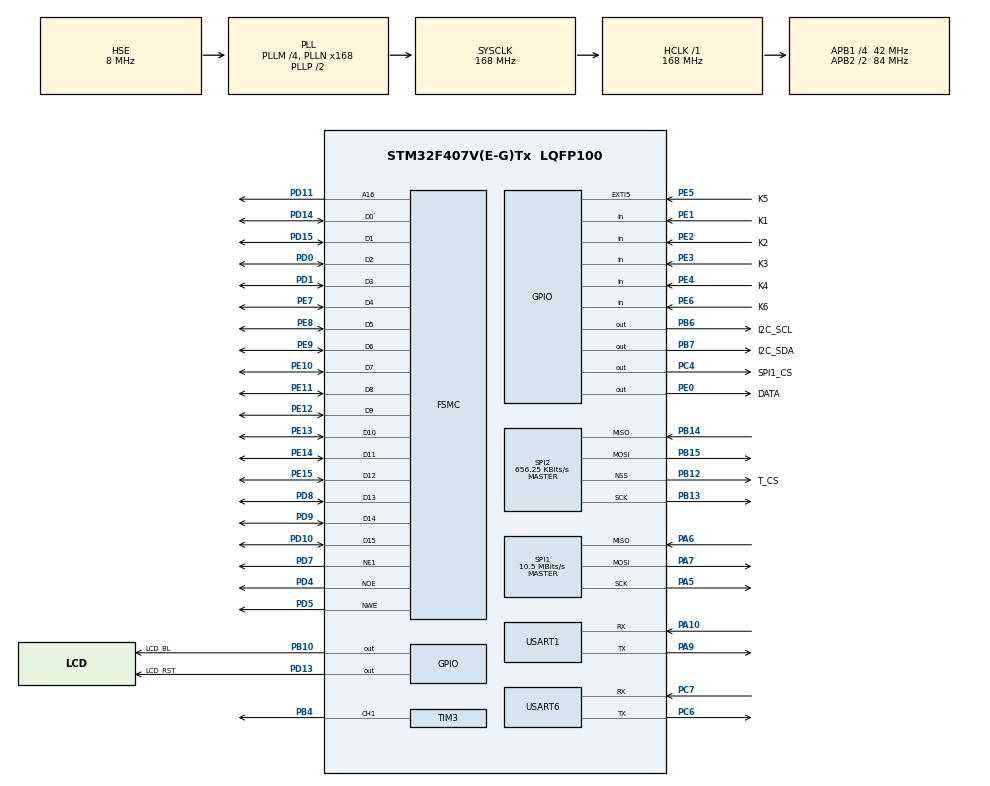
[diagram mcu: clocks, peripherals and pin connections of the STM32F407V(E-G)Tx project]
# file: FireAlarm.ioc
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FREERTOS.Tasks01=TempTask,24,512,StartTempTask,Default,NULL,Dynamic,NULL,NULL;KeyTask,26,256,StartKeyTask,Default,NULL,Dynamic,NULL,NULL;MPUTask,25,512,StartMPUTask,Default,NULL,Dynamic,NULL,NULL;GUITask,26,512,StartGUITask,Default,NULL,Dynamic,NULL,NULL;WifiTask,26,512,StartWifiTask,Default,NULL,Dynamic,NULL,NULL;DefaultTask,25,256,StartMainTask,Default,NULL,Dynamic,NULL,NULL
FREERTOS.configTOTAL_HEAP_SIZE=30000
FSMC.AddressSetupTime1=2
FSMC.BusTurnAroundDuration1=2
FSMC.DataSetupTime1=2
Mcu.Family=STM32F4
Mcu.Name=STM32F407V(E-G)Tx
Mcu.Package=LQFP100
NVIC.EXTI9_5_IRQn=true\:5\:0\:false\:false\:true\:true\:true\:true\:true
NVIC.PriorityGroup=NVIC_PRIORITYGROUP_4
NVIC.TIM3_IRQn=true\:5\:0\:false\:false\:true\:true\:true\:true\:true
NVIC.TIM7_IRQn=true\:15\:0\:false\:false\:true\:false\:false\:true\:true
NVIC.TimeBase=TIM7_IRQn
NVIC.TimeBaseIP=TIM7
NVIC.USART6_IRQn=true\:5\:0\:false\:false\:true\:true\:true\:true\:true
PA10.Mode=Asynchronous
PA10.Signal=USART1_RX
PA13.Mode=Trace_Asynchronous_SW
PA13.Signal=SYS_JTMS-SWDIO
PA14.Mode=Trace_Asynchronous_SW
PA14.Signal=SYS_JTCK-SWCLK
PA5.Mode=Full_Duplex_Master
PA5.Signal=SPI1_SCK
PA6.Mode=Full_Duplex_Master
PA6.Signal=SPI1_MISO
PA7.Mode=Full_Duplex_Master
PA7.Signal=SPI1_MOSI
PA9.Mode=Asynchronous
PA9.Signal=USART1_TX
PB10.GPIO_Label=LCD_BL
PB10.Signal=GPIO_Output
PB12.GPIO_Label=T_CS
PB12.Mode=NSS_Signal_Hard_Output
PB12.Signal=SPI2_NSS
PB13.Mode=Full_Duplex_Master
PB13.Signal=SPI2_SCK
PB14.Mode=Full_Duplex_Master
PB14.Signal=SPI2_MISO
PB15.Mode=Full_Duplex_Master
PB15.Signal=SPI2_MOSI
PB3.Mode=Trace_Asynchronous_SW
PB3.Signal=SYS_JTDO-SWO
PB4.Signal=S_TIM3_CH1
PB6.GPIO_Label=I2C_SCL
PB6.GPIO_ModeDefaultOutputPP=GPIO_MODE_OUTPUT_OD
PB6.GPIO_PuPd=GPIO_NOPULL
PB6.GPIO_Speed=GPIO_SPEED_FREQ_LOW
PB6.Signal=GPIO_Output
PB7.GPIO_Label=I2C_SDA
PB7.GPIO_ModeDefaultOutputPP=GPIO_MODE_OUTPUT_OD
PB7.GPIO_PuPd=GPIO_NOPULL
PB7.GPIO_Speed=GPIO_SPEED_FREQ_LOW
PB7.Signal=GPIO_Output
PC4.GPIO_Label=SPI1_CS
PC4.Signal=GPIO_Output
PC6.Mode=Asynchronous
PC6.Signal=USART6_TX
PC7.Mode=Asynchronous
PC7.Signal=USART6_RX
PD0.Mode=16b-d1
PD0.Signal=FSMC_D2
PD1.Mode=16b-d1
PD1.Signal=FSMC_D3
PD10.Mode=16b-d1
PD10.Signal=FSMC_D15
PD11.Mode=A16_1
PD11.Signal=FSMC_A16
PD13.GPIO_Label=LCD_RST
PD13.Signal=GPIO_Output
PD14.Mode=16b-d1
PD14.Signal=FSMC_D0
PD15.Mode=16b-d1
PD15.Signal=FSMC_D1
PD4.Mode=Lcd1
PD4.Signal=FSMC_NOE
PD5.Mode=Lcd1
PD5.Signal=FSMC_NWE
PD7.Mode=NorPsramChipSelect1_1
PD7.Signal=FSMC_NE1
PD8.Mode=16b-d1
PD8.Signal=FSMC_D13
PD9.Mode=16b-d1
PD9.Signal=FSMC_D14
PE0.GPIO_Label=DATA
PE0.GPIO_PuPd=GPIO_NOPULL
PE0.Signal=GPIO_Output
PE1.GPIO_Label=K1
PE1.GPIO_PuPd=GPIO_PULLUP
PE1.Signal=GPIO_Input
PE10.Mode=16b-d1
PE10.Signal=FSMC_D7
PE11.Mode=16b-d1
PE11.Signal=FSMC_D8
PE12.Mode=16b-d1
PE12.Signal=FSMC_D9
PE13.Mode=16b-d1
PE13.Signal=FSMC_D10
PE14.Mode=16b-d1
PE14.Signal=FSMC_D11
PE15.Mode=16b-d1
PE15.Signal=FSMC_D12
PE2.GPIO_Label=K2
PE2.GPIO_PuPd=GPIO_PULLUP
PE2.Signal=GPIO_Input
PE3.GPIO_Label=K3
PE3.GPIO_PuPd=GPIO_PULLUP
PE3.Signal=GPIO_Input
PE4.GPIO_Label=K4
PE4.GPIO_PuPd=GPIO_PULLUP
PE4.Signal=GPIO_Input
PE5.GPIO_Label=K5
PE5.GPIO_ModeDefaultEXTI=GPIO_MODE_IT_RISING_FALLING
PE5.GPIO_PuPd=GPIO_PULLDOWN
PE5.Signal=GPXTI5
PE6.GPIO_Label=K6
PE6.GPIO_PuPd=GPIO_PULLDOWN
PE6.Signal=GPIO_Input
PE7.Mode=16b-d1
PE7.Signal=FSMC_D4
PE8.Mode=16b-d1
PE8.Signal=FSMC_D5
PE9.Mode=16b-d1
PE9.Signal=FSMC_D6
PH0-OSC_IN.Mode=HSE-External-Oscillator
PH0-OSC_IN.Signal=RCC_OSC_IN
PH1-OSC_OUT.Mode=HSE-External-Oscillator
PH1-OSC_OUT.Signal=RCC_OSC_OUT
ProjectManager.HeapSize=0x1000
ProjectManager.StackSize=0x2000
ProjectManager.TargetToolchain=Makefile
RCC.48MHZClocksFreq_Value=84000000
RCC.AHBFreq_Value=168000000
RCC.APB1CLKDivider=RCC_HCLK_DIV4
RCC.APB1Freq_Value=42000000
RCC.APB1TimFreq_Value=84000000
RCC.APB2CLKDivider=RCC_HCLK_DIV2
RCC.APB2Freq_Value=84000000
RCC.APB2TimFreq_Value=168000000
RCC.CortexFreq_Value=168000000
RCC.HCLKFreq_Value=168000000
RCC.HSE_VALUE=8000000
RCC.HSI_VALUE=16000000
RCC.LSE_VALUE=32768
RCC.PLLM=4
RCC.PLLN=168
RCC.PLLSourceVirtual=RCC_PLLSOURCE_HSE
RCC.SYSCLKFreq_VALUE=168000000
RCC.SYSCLKSource=RCC_SYSCLKSOURCE_PLLCLK
RCC.VCOOutputFreq_Value=336000000
SH.S_TIM3_CH1.0=TIM3_CH1,PWM Generation1 CH1
SPI1.BaudRatePrescaler=SPI_BAUDRATEPRESCALER_8
SPI1.CalculateBaudRate=10.5 MBits/s
SPI1.Direction=SPI_DIRECTION_2LINES
SPI1.Mode=SPI_MODE_MASTER
SPI1.VirtualType=VM_MASTER
SPI2.BaudRatePrescaler=SPI_BAUDRATEPRESCALER_64
SPI2.CRCCalculation=SPI_CRCCALCULATION_ENABLE
SPI2.CalculateBaudRate=656.25 KBits/s
SPI2.Direction=SPI_DIRECTION_2LINES
SPI2.Mode=SPI_MODE_MASTER
SPI2.VirtualNSS=VM_NSSHARD
SPI2.VirtualType=VM_MASTER
TIM13.Period=0xFFFF
TIM13.Prescaler=168 - 1
TIM3.Channel-PWM\ Generation1\ CH1=TIM_CHANNEL_1
TIM3.Period=1000 - 1
TIM3.Prescaler=84 - 1
TIM3.Pulse-PWM\ Generation1\ CH1=500
TIM3.TIM_MasterOutputTrigger=TIM_TRGO_RESET
USART1.VirtualMode=VM_ASYNC
USART6.VirtualMode=VM_ASYNC
VP_CRC_VS_CRC.Mode=CRC_Activate
VP_FREERTOS_VS_CMSIS_V2.Mode=CMSIS_V2
VP_SYS_VS_tim7.Mode=TIM7
VP_TIM13_VS_ClockSourceINT.Mode=Enable_Timer
board=custom

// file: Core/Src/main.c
/* USER CODE BEGIN Header */
/**
  ******************************************************************************
  * @file           : main.c
  * @brief          : Main program body
  ******************************************************************************
  * @attention
  *
  * Copyright (c) 2024 STMicroelectronics.
  * All rights reserved.
  *
  * This software is licensed under terms that can be found in the LICENSE file
  * in the root directory of this software component.
  * If no LICENSE file comes with this software, it is provided AS-IS.
  *
  ******************************************************************************
  */
/* USER CODE END Header */
#include "main.h"
#include "cmsis_os.h"
#include "crc.h"
#include "spi.h"
#include "tim.h"
#include "usart.h"
#include "gpio.h"
#include "fsmc.h"

void SystemClock_Config(void);
void MX_FREERTOS_Init(void);

int main(void)

{

  /* MCU Configuration--------------------------------------------------------*/

  /* Reset of all peripherals, Initializes the Flash interface and the Systick. */
  HAL_Init();

  /* Configure the system clock */
  SystemClock_Config();

  /* Initialize all configured peripherals */
  MX_GPIO_Init();
  MX_CRC_Init();
  MX_FSMC_Init();
  MX_SPI2_Init();
  MX_TIM3_Init();
  MX_TIM13_Init();
  MX_USART6_UART_Init();
  MX_USART1_UART_Init();
  MX_SPI1_Init();

  /* Init scheduler */
  osKernelInitialize();

  /* Call init function for freertos objects (in freertos.c) */
  MX_FREERTOS_Init();

  /* Start scheduler */
  osKernelStart();

  /* We should never get here as control is now taken by the scheduler */
  /* Infinite loop */
  while (1)
  {

  }
}

void SystemClock_Config(void)
{
  RCC_OscInitTypeDef RCC_OscInitStruct = {0};
  RCC_ClkInitTypeDef RCC_ClkInitStruct = {0};

  /** Configure the main internal regulator output voltage
  */
  __HAL_RCC_PWR_CLK_ENABLE();
  __HAL_PWR_VOLTAGESCALING_CONFIG(PWR_REGULATOR_VOLTAGE_SCALE1);

  /** Initializes the RCC Oscillators according to the specified parameters
  * in the RCC_OscInitTypeDef structure.
  */
  RCC_OscInitStruct.OscillatorType = RCC_OSCILLATORTYPE_HSE;
  RCC_OscInitStruct.HSEState = RCC_HSE_ON;
  RCC_OscInitStruct.PLL.PLLState = RCC_PLL_ON;
  RCC_OscInitStruct.PLL.PLLSource = RCC_PLLSOURCE_HSE;
  RCC_OscInitStruct.PLL.PLLM = 4;
  RCC_OscInitStruct.PLL.PLLN = 168;
  RCC_OscInitStruct.PLL.PLLP = RCC_PLLP_DIV2;
  RCC_OscInitStruct.PLL.PLLQ = 4;
  if (HAL_RCC_OscConfig(&RCC_OscInitStruct) != HAL_OK)
  {
    Error_Handler();
  }

  /** Initializes the CPU, AHB and APB buses clocks
  */
  RCC_ClkInitStruct.ClockType = RCC_CLOCKTYPE_HCLK|RCC_CLOCKTYPE_SYSCLK
                              |RCC_CLOCKTYPE_PCLK1|RCC_CLOCKTYPE_PCLK2;
  RCC_ClkInitStruct.SYSCLKSource = RCC_SYSCLKSOURCE_PLLCLK;
  RCC_ClkInitStruct.AHBCLKDivider = RCC_SYSCLK_DIV1;
  RCC_ClkInitStruct.APB1CLKDivider = RCC_HCLK_DIV4;
  RCC_ClkInitStruct.APB2CLKDivider = RCC_HCLK_DIV2;

  if (HAL_RCC_ClockConfig(&RCC_ClkInitStruct, FLASH_LATENCY_5) != HAL_OK)
  {
    Error_Handler();
  }
}

void HAL_TIM_PeriodElapsedCallback(TIM_HandleTypeDef *htim)
{
  if (htim->Instance == TIM7) {
    HAL_IncTick();
  }
  /* USER CODE BEGIN Callback 1 */
  // if (htim->Instance == TIM7 && beep_time > 0)
	// {
	// 	--beep_time;
	//  if(0 == beep_time)
	// 	Beep(0,0);
  //  }
  /* USER CODE END Callback 1 */
}

void Error_Handler(void)
{
  __disable_irq();
  while (1)
  {
  }
}

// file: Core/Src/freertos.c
/* USER CODE BEGIN Header */
/**
  ******************************************************************************
  * File Name          : freertos.c
  * Description        : Code for freertos applications
  ******************************************************************************
  * @attention
  *
  * Copyright (c) 2024 STMicroelectronics.
  * All rights reserved.
  *
  * This software is licensed under terms that can be found in the LICENSE file
  * in the root directory of this software component.
  * If no LICENSE file comes with this software, it is provided AS-IS.
  *
  ******************************************************************************
  */
/* USER CODE END Header */

#include "FreeRTOS.h"
#include "task.h"
#include "main.h"
#include "cmsis_os.h"

/* USER CODE BEGIN Includes */
#include "stdlib.h"
#include "printf.h"
#include "string.h"
#include "../../API/Menu.h"
#include "../inc/gpio.h"
#include "../inc/tim.h"
#include "../inc/usart.h"
#include "../inc/ESP01.h"

#include "w25qxx.h"
#include "DS18B20.h"
#include "MPU6050.h"
#include "GUI.h"
#include "touch.h"
#include <cmsis_os2.h>

/* USER CODE END Includes */

/* USER CODE BEGIN PD */

#define TH            90.0f
#define SEV              9
#define ALARM_MAX       60
#define UPLOAD_MAX 10000.0f

/* USER CODE END PD */

/* USER CODE BEGIN Variables */

float vPitch[pPLOT_NUM]  = {0.0f};
float  vTemp[tPLOT_NUM]  = {0.0f};
float  vRoll[rPLOT_NUM]  = {0.0f};
float   vYaw[yPLOT_NUM]  = {0.0f};

PARA_list   para  = {
       5,         /*    Sensitivity level (0~9)         */
      30,         /*    Alarm duration(s) (0~60)        */
  1000.0f,         /*    Upload interval (100~10000ms)   */
    30.0f         /*    temp thresh (0~90) degree       */
};

PARA_list set;

Temperature gtemp = {
    0.0f,         /*  new temperature    */
    0.0f,         /*  old temperature    */
       0,         /*  temperature update */
       0,         /*  temperature warn   */
       0,         /*  temperature cnt    */
    30.0f         /*  temperature thresh */
};

MPUpacket mpu = {
       1,         /*    ax    */
       0,         /*    ay    */
      -1,         /*    az    */
       1,         /*    gx    */
       0,         /*    gy    */
      -1,         /*    gz    */
    0.0f,         /*   fAX    */
    0.0f,         /*   fAY    */
    0.0f,         /*   fAZ    */
       0,         /*    ok    */
       0,         /*  warn    */
       1,         /*  update  */
       0          /*  counter */
};

Page_t Book = {
        1,        /*    cur  page     */
      127,        /*    last page     */
        0,        /*    skip button   */
TEMP_FIRST,       /*    Priority      */
TEMP_CURVE,       /*    prev-Priority */
        1,        /*    turn page     */
        0,        /*  PARA SET-order  */
        0,        /*  fetch thresh    */
        0         /*  to kill beep    */
};

WifiPacket SensorPack = {
        1,        /*    Deliever to TCP     */
   100.0f,        /*    Deliever interval   */
      "",         /*    Sensor Data Buffer  */
};

uint32_t current_tick = 0;
uint32_t beeptick = 0;
uint32_t warntick = 0;
uint16_t key = 0;
uint16_t num[4];

/* USER CODE END Variables */
/* Definitions for TempTask */
osThreadId_t TempTaskHandle;
const osThreadAttr_t TempTask_attributes = {
  .name = "TempTask",
  .stack_size = 512 * 4,
  .priority = (osPriority_t) osPriorityAboveNormal,
};
/* Definitions for KeyTask */
osThreadId_t KeyTaskHandle;
const osThreadAttr_t KeyTask_attributes = {
  .name = "KeyTask",
  .stack_size = 256 * 4,
  .priority = (osPriority_t) osPriorityNormal2,
};
/* Definitions for MPUTask */
osThreadId_t MPUTaskHandle;
const osThreadAttr_t MPUTask_attributes = {
  .name = "MPUTask",
  .stack_size = 512 * 4,
  .priority = (osPriority_t) osPriorityNormal1,
};
/* Definitions for GUITask */
osThreadId_t GUITaskHandle;
const osThreadAttr_t GUITask_attributes = {
  .name = "GUITask",
  .stack_size = 512 * 4,
  .priority = (osPriority_t) osPriorityNormal2,
};
/* Definitions for WifiTask */
osThreadId_t WifiTaskHandle;
const osThreadAttr_t WifiTask_attributes = {
  .name = "WifiTask",
  .stack_size = 512 * 4,
  .priority = (osPriority_t) osPriorityNormal2,
};
/* Definitions for DefaultTask */
osThreadId_t DefaultTaskHandle;
const osThreadAttr_t DefaultTask_attributes = {
  .name = "DefaultTask",
  .stack_size = 256 * 4,
  .priority = (osPriority_t) osPriorityNormal1,
};

/* USER CODE BEGIN FunctionPrototypes */
static void GUI_Start();
void Beep(uint8_t tune, uint16_t time);
void Beep_mpu(uint8_t tune, uint16_t time);
void BeepDone(void);
/* USER CODE END FunctionPrototypes */

void StartTempTask(void *argument);
void StartKeyTask(void *argument);
void StartMPUTask(void *argument);
void StartGUITask(void *argument);
void StartWifiTask(void *argument);
void StartMainTask(void *argument);

void MX_FREERTOS_Init(void); /* (MISRA C 2004 rule 8.1) */

void MX_FREERTOS_Init(void) {

  /* Create the thread(s) */
  /* creation of TempTask */
  TempTaskHandle = osThreadNew(StartTempTask, NULL, &TempTask_attributes);

  /* creation of KeyTask */
  KeyTaskHandle = osThreadNew(StartKeyTask, NULL, &KeyTask_attributes);

  /* creation of MPUTask */
  MPUTaskHandle = osThreadNew(StartMPUTask, NULL, &MPUTask_attributes);

  /* creation of GUITask */
  GUITaskHandle = osThreadNew(StartGUITask, NULL, &GUITask_attributes);

  /* creation of WifiTask */
  WifiTaskHandle = osThreadNew(StartWifiTask, NULL, &WifiTask_attributes);

  /* creation of DefaultTask */
  DefaultTaskHandle = osThreadNew(StartMainTask, NULL, &DefaultTask_attributes);

}

void StartTempTask(void *argument)
{
  /* USER CODE BEGIN StartTempTask */
  /* Infinite loop */

  ds18b20_init();

  for(;;)
  {
      if ( Book.Priority == TEMP_FIRST || Book.Priority == WIFI_ESP || Book.Priority == PARA_SET)
      {

          // osThreadFlagsWait(0x0001, osFlagsWaitAny, 5);

          osDelay(20);
          gtemp.new  = ds18b20_read();

          if ( gtemp.new < TH )
          {
              if ( gtemp.new >= (float)gtemp.thresh )
              {
                  gtemp.warn = 1;
              }
          }
      }
      else if ( Book.Priority == TEMP_CURVE )
      {
          osThreadFlagsWait(0x0001, osFlagsWaitAny, 2);

          osDelay(100);
          gtemp.new  = ds18b20_read();

          if ( gtemp.new < TH )
          {
              if ( gtemp.cnt < tPLOT_NUM )
                vTemp[gtemp.cnt++] = gtemp.new;
              else
              {
                  memcpy((void *)vTemp, (void *)(vTemp +1), sizeof(vTemp[0]) * (tPLOT_NUM - 1));
                  vTemp[tPLOT_NUM -1] = gtemp.new;
              }

              if ( gtemp.new >= (float) gtemp.thresh )
              {
                  gtemp.warn = 1;
              }
          }
      }
      if ( ( gtemp.warn || mpu.warn ) && para.alarm > 0 )
      {
          if ( 0 == warntick )
              warntick = osKernelGetTickCount();
          else if ( para.alarm == 0 || osKernelGetTickCount() >= warntick + para.alarm * 1000 || !Book.set)
          {
              gtemp.warn = 0;
              mpu.warn = 0;
              warntick = 0;
          }
          else
          {
              uint32_t tic = warntick + 30000 - osKernelGetTickCount();
              num[0] =  (tic / 10000) % 10;
              num[1] =  (tic / 1000) % 10;
              num[2] =  (tic / 100) % 10;
              num[3] =  (tic / 10) % 10;

              if ((num[2] == 1 || num[2] == 2 || num[2] == 7) && ( gtemp.warn && !mpu.warn && !Book.killbeep))
              {
                  Beep(num[2],100);
              }
              else if (( num[2] == 7 || num[2] == 2 || num[2] == 5 ) && ( !gtemp.warn && mpu.warn && !Book.killbeep ))
              {
                  Beep_mpu(num[2],100);
              }
          }
      }
      else
        num[0] = num[1] = num[2] = num[3] = ' ';

      BeepDone();
      osDelay(1);
  }
  /* USER CODE END StartTempTask */
}

void StartKeyTask(void *argument)
{
  /* USER CODE BEGIN StartKeyTask */
  /* Infinite loop */
  for(;;)
  {
      if ( (gtemp.warn || mpu.warn ) && para.alarm > 0 )
      {
        key = ScanKey(1);
        current_tick = 0;
      }
		  else
      {
        key = ScanKey(0);
        Book.killbeep = 0;
      }
      if ( key > 0 )
      {
          if ( key == KSUM )
          {
                current_tick = osKernelGetTickCount();

                while ( key == KSUM )
                {
                    if ( osKernelGetTickCount() >= current_tick + 3000 )
                    {
                        Book.killbeep = 1;
                        key = K_IDIE;
                        break;
                    }
                    key = ScanKey(1);
                }
          }
          switch ( key )
          {
              case K1_Pin:

                Book.cur = MENU[Book.cur].up;

                Book_Priorswitch (Book.cur);
                osDelay(300);

              break;

              case K4_Pin:

                Book.cur = MENU[Book.cur].down;

                Book_Priorswitch (Book.cur);
                osDelay(300);

              break;

              case K2_Pin:

                if ( Book.Priority == WIFI_ESP )
                {
                    SensorPack.button = 1;
                    // transmitting SensorDataPack;
                }
                else if ( Book.Priority == PARA_SET && (gtemp.warn != 1 && mpu.warn != 1) )
                {

                    osDelay(300);

                    switch ( Book.gpara )
                    {
                      case 0:

                          if ( para.maxtemp < TH )
                          {
                              para.maxtemp += 0.1f;
                          }
                          else
                          {
                              para.maxtemp = (float)TH;
                          }

                      break;

                      case 1:

                          if ( para.sensitivity < SEV )
                          {
                              para.sensitivity += 1;
                          }
                          else
                          {
                              para.sensitivity = SEV;
                          }

                      break;

                      case 2:

                          if ( para.alarm < ALARM_MAX )
                          {
                              para.alarm   += 1;
                          }
                          else
                          {
                              para.alarm = ALARM_MAX;
                          }

                      break;

                      case 3:

                          if ( para.upload < UPLOAD_MAX )
                          {
                              para.upload  += 100;
                          }
                          else
                          {
                              para.upload = UPLOAD_MAX;
                          }

                      break;

                      default:
                      break;
                    }

                }
                else
                {
                    Book.cur = MENU[Book.cur].left;

                    Book_Priorswitch (Book.cur);
                    osDelay(300);
                }

              break;

              case K3_Pin:

                if ( Book.Priority == WIFI_ESP )
                {
                    SensorPack.button = 0;
                    // close
                }
                else if ( Book.Priority == PARA_SET && (gtemp.warn != 1 && mpu.warn != 1) )
                {

                    osDelay(300);

                    switch ( Book.gpara )
                    {
                      case 0:

                          if ( para.maxtemp > 0.0f )
                          {
                              para.maxtemp -= 0.1f;
                          }
                          else
                          {
                              para.maxtemp = 0.0f;
                          }

                      break;

                      case 1:

                          if ( para.sensitivity > 0 )
                          {
                              para.sensitivity -= 1;
                          }
                          else
                          {
                              para.sensitivity = 0;
                          }

                      break;

                      case 2:

                          if ( para.alarm > 0 )
                          {
                              para.alarm -= 1;
                          }
                          else
                          {
                              para.alarm = 0;
                          }

                      break;

                      case 3:

                          if ( para.upload > 100 )
                          {
                              para.upload -= 100;
                          }
                          else
                          {
                              para.upload = 100;
                          }

                      break;

                      default:
                      break;
                    }

                }
                else
                {

                    Book.cur = MENU[Book.cur].right;

                    Book_Priorswitch (Book.cur);
                    osDelay(300);

                }

              break;

              case K5_Pin:

                if ( Book.Priority != WIFI_ESP && Book.Priority != PARA_SET )
                {
                    Book.cur = MENU[Book.cur].enter;

                    Book_Priorswitch (Book.cur);
                    osDelay(300);
                }

                else if ( Book.Priority == PARA_SET )
                {
                    Book.gpara += 1;
                    Book.gpara %= 4;
                    osDelay(500);
                }

                else if ( Book.Priority == WIFI_ESP )
                {
                    if ( Book.cur != 11)   { InitEsp01(&huart6);}
                    else                   { g_esp01.Sendbytes = 0; g_esp01.Recvbytes = 0; }

                }

              break;

              case K6_Pin:

                if ( Book.Priority != WIFI_ESP )
                  Book.cur = MENU[Book.cur].back;
                else
                  Book.cur = MENU[Book.cur].right;

                Book_Priorswitch (Book.cur);
                osDelay(300);

              break;

              case K_IDIE:
                printf("success brake beep!\n");
                osDelay(100);
              break;
              default:
              break;
        }

        if ( Book.Priority == PARA_SET && (key == K2_Pin || key == K3_Pin) )
        {
            if ( memcpy(&set, &para, sizeof(para) ) )
            {
                printf("Save %.1f℃, %d, %d秒, %.1f毫秒\n", para.maxtemp, para.sensitivity,
                        para.alarm, para.upload);
                W25QXX_Write( (uint8_t *)&para , 0, sizeof(para) );
                gtemp.thresh = (float)para.maxtemp;
                SensorPack.interval = para.upload;
            }
        }

      }

    osDelay(1);
  }
  /* USER CODE END StartKeyTask */
}

void StartMPUTask(void *argument)
{
  /* USER CODE BEGIN StartMPUTask */
  /* Infinite loop */
  uint32_t tick = 0;
  mpu.ok = MPU_init();

  uint8_t cnt = 0;
  while ( cnt++ < 3 && !mpu.ok)
  {
    osDelay(500);
    mpu.ok = MPU_init();
  }
  InitEsp01(&huart6);

  W25QXX_Init();

  W25QXX_Read(&set, 0, sizeof(set));
  if (( set.maxtemp  >= 0.0f && set.maxtemp <= TH       ) &&
      ( set.sensitivity >= 0 && set.sensitivity <= SEV  ) &&
      ( set.alarm       >= 0 && set.alarm   <= ALARM_MAX) &&
      ( set.upload   >= 100.0f  && set.upload <= UPLOAD_MAX)  )
  {
        memcpy(&para, &set, sizeof(set));
        printf("Load %.1f℃, %d, %d秒, %.1f毫秒\n", para.maxtemp, para.sensitivity,
                            para.alarm, para.upload);
        gtemp.thresh = (float)para.maxtemp;
        SensorPack.interval = para.upload;
        Book.set = 1;
  }
  /* Infinite loop */
  for(;;)
  {
      if ( mpu.ok && ( Book.Priority == MPU_FIRST || Book.Priority == WIFI_ESP || Book.Priority == PARA_SET || Book.Priority == TEMP_FIRST ) )
      {
          // osThreadFlagsWait(0x0002, osFlagsWaitAny, 5);

          MPU_getdata();
              mpu.ax = ax;
              mpu.ay = ay;
              mpu.az = az;
              mpu.gx = gx;
              mpu.gy = gy;
              mpu.gz = gz;
              mpu.fAX = fAX;
              mpu.fAY = fAY;
              mpu.fAZ = fAZ;
              mpu.update = 1;

          // SWV output
          // printf("MPU Data:%4.1f %4.1f %4.1f, %5d %5d %5d, %5d %5d %5d\n", fAX, fAY, fAZ, ax, ay, az, gx, gy, gz);
      }

      else if ( mpu.ok && ( Book.Priority == MPU_PITCH || Book.Priority == MPU_ROLL || Book.Priority == MPU_YAW ) )
      {

          osThreadFlagsWait(0x0002, osFlagsWaitAny, 2);

          MPU_getdata();
              mpu.ax = ax;
              mpu.ay = ay;
              mpu.az = az;
              mpu.gx = gx;
              mpu.gy = gy;
              mpu.gz = gz;
              mpu.fAX = fAX;
              mpu.fAY = fAY;
              mpu.fAZ = fAZ;

          if ( Book.Prev_Priority != Book.Priority ) { mpu.cnt = 0; }

          switch ( Book.Priority )
          {
              case MPU_PITCH:

                  if ( mpu.cnt < tPLOT_NUM )
                    vPitch[mpu.cnt++] = fAX;

                  else
                  {
                    memcpy( (void *) vPitch , (void *) ( vPitch + 1 ) , sizeof( vPitch[0] ) * ( pPLOT_NUM - 1 ) );
                    vPitch[pPLOT_NUM -1] = fAX;
                  }

                  Book.Prev_Priority = MPU_PITCH;

              break;
              case  MPU_ROLL:

                  if ( mpu.cnt < rPLOT_NUM )
                    vRoll[mpu.cnt++] = fAY;
                  else
                  {
                    memcpy( (void *)vRoll , (void *) ( vRoll + 1 ) , sizeof( vRoll[0] ) * ( rPLOT_NUM - 1 ) );
                    vRoll[rPLOT_NUM -1] = fAY;
                  }

                  Book.Prev_Priority = MPU_ROLL;

              break;
              case   MPU_YAW:

                  if ( mpu.cnt < yPLOT_NUM )
                    vYaw[mpu.cnt++] = fAZ;
                  else
                  {
                    memcpy( (void *)vYaw , (void *) ( vYaw + 1 ), sizeof( vYaw[0] ) * ( yPLOT_NUM - 1 ) );
                    vYaw[yPLOT_NUM -1] = fAZ;
                  }

                  Book.Prev_Priority = MPU_YAW;

              break;
          }
          osDelay(50);
      }

      if ( gx * gx + gy * gy + gz * gz > 5000 * ( 10 - para.sensitivity ) && para.alarm > 0 )
      {
          mpu.warn = 1;
      }

      osDelay(1);
  }
  /* USER CODE END StartMPUTask */
}

void StartGUITask(void *argument)
{
  /* USER CODE BEGIN StartGUITask */
  /* Infinite loop */

  HAL_TIM_Base_Start(&htim3);
  GUI_Init();
  GUI_Start();

  // printf("Hello STM32F407!\n");
  static uint16_t Subprioity = TEMP_FIRST;
  // osThreadFlagsSet(TempTaskHandle , 0x0001);
  // osDelay(2U);

  for(;;)
  {
      if ( Book.last != Book.cur )
      {

          Book.update = 1;
          gtemp.update = 0;
          mpu.update   = 1;
          Book_Pageturn ( Book.cur, gtemp, mpu );
          Book.last = Book.cur;

      }

      else
      {

          Book.update = 0;
          Book.button = 0;

          switch ( Book.Priority )
          {
              case TEMP_FIRST:

                  if ( gtemp.new != gtemp.old )
                  {
                    gtemp.update = 1;
                    Book_Pageturn ( Book.cur, gtemp, mpu );
                    gtemp.old = gtemp.new;
                  }

                  else if ( gtemp.new == gtemp.old )
                  {
                    gtemp.update = 0;
                    // osThreadFlagsSet(TempTaskHandle , 0x0001);

                    osDelay(2U);
                  }

              break;

              case  MPU_FIRST:

                  if ( mpu.update )
                  {
                    Book_Pageturn ( Book.cur, gtemp, mpu );
                    mpu.update = 0;
                  }
                  // if ( !mpu.update )
                  // {
                  //   // osThreadFlagsSet ( MPUTaskHandle , 0x0002 );

                  //   osDelay(2U);
                  // }

              break;

              case  TEMP_CURVE:

                  osThreadFlagsSet ( TempTaskHandle , 0x0001 );
                  osDelay(2U);
                  Book_Pageturn ( Book.cur, gtemp, mpu );

              break;

              case   MPU_YAW:

                  osThreadFlagsSet ( MPUTaskHandle , 0x0002 );
                  osDelay(2U);
                  Book_Pageturn ( Book.cur, gtemp, mpu );

              break;

              case   MPU_ROLL:

                  osThreadFlagsSet ( MPUTaskHandle , 0x0002 );
                  osDelay(2U);
                  Book_Pageturn ( Book.cur, gtemp, mpu );

              break;

              case   MPU_PITCH:

                  osThreadFlagsSet ( MPUTaskHandle , 0x0002 );
                  osDelay(2U);
                  Book_Pageturn ( Book.cur, gtemp, mpu );

              break;

              case  WIFI_ESP:

                  switch (Subprioity)
                  {
                    case TEMP_FIRST:

                        if ( gtemp.new != gtemp.old )
                        {
                          gtemp.update = 1;
                          gtemp.old = gtemp.new;
                        }

                        else if ( gtemp.new == gtemp.old )
                        {
                          gtemp.update = 0;
                          // osThreadFlagsSet(TempTaskHandle , 0x0001);

                          osDelay(2U);
                        }

                        Subprioity = MPU_FIRST;
                        osDelay(10);
                    break;
                    case MPU_FIRST:

                        if ( mpu.update )
                        {
                          Book_Pageturn ( Book.cur, gtemp, mpu );
                          mpu.update = 0;
                        }
                        // if ( !mpu.update )
                        // {
                        //   osThreadFlagsSet ( MPUTaskHandle , 0x0002 );

                        //   osDelay(2U);
                        // }

                        Subprioity = TEMP_FIRST;
                        osDelay(10);

                    default:
                    break;
                  }

              break;

              case   PARA_SET:

                  Book_Pageturn ( Book.cur, gtemp, mpu );
                  osDelay(100);

              break;
              default:
              break;
          }
      }

      if ( Book.cur == 0 ) { Book.cur = 1; }

      BeepDone();
      osDelay(100);
  }
  /* USER CODE END StartGUITask */
}

void StartWifiTask(void *argument)
{
  /* USER CODE BEGIN StartWifiTask */
  /* Infinite loop */

  for(;;)
  {
    if ( EspRxDataOk() )
    {
        if ( g_esp01.rxdata.rx_len > 0)
        {
          char *pstr = (char *) (g_esp01.rxdata.rx_buf);

          if ( strstr(pstr, "UPON") == pstr )
              SensorPack.button = 1;

          else if ( strstr(pstr, "UPOFF") == pstr )
              SensorPack.button = 0;

          else if (( strstr(pstr, "GETPARA") == pstr ) && ( SensorPack.button == 1 ))
          {
            char upstr[50];
            sprintf(upstr, "P:%d,%d,%d,%d\n",(int)para.maxtemp, para.sensitivity, para.alarm,(int)para.upload);
            SendEspStr(upstr);
          }
          else if ( strstr(pstr, "PSET:") == pstr )
          {
            PARA_list set_s;
            char *p = pstr + 5;
            set_s.maxtemp = atoi(p);
            p = strstr(p, ",");
            if ( p > pstr )
            {
              set_s.sensitivity = atoi(p + 1);
              p = strstr(p + 1 , ",");
              if ( p > pstr )
              {
                set_s.alarm = atoi(p + 1);
                p = strstr(p + 1, ",");
                if ( p > pstr )
                {
                  set_s.upload = atoi(p + 1);
                  if (( set_s.maxtemp     >= 0 && set_s.maxtemp <= 90     ) &&
                      ( set_s.sensitivity >= 0 && set_s.sensitivity <= 9  ) &&
                      ( set_s.alarm       >= 0 && set_s.alarm <= 60       ) &&
                      ( set_s.upload      >= 100.0  && set_s.upload <= 10000 ))
                  {
                      memcpy(&para, &set_s, sizeof(set_s));
                      printf("Save %.1f℃, %d, %d秒, %.1f毫秒\n", para.maxtemp, para.sensitivity,
                      para.alarm, para.upload);
                      W25QXX_Write( (uint8_t *)&para , 0, sizeof(para) );
                      gtemp.thresh = (float)para.maxtemp;
                      SensorPack.interval = para.upload;
                  }
                }
              }
            }
          }
        }
      // 接收数据处理
    }
    osDelay(1);
  }
  /* USER CODE END StartWifiTask */
}

void StartMainTask(void *argument)
{
  /* USER CODE BEGIN StartMainTask */
  /* Infinite loop */
  for(;;)
  {
    if ( SensorPack.button && g_esp01.bConnect == 3 )
    {
          osDelay(SensorPack.interval);
          sprintf(SensorPack.buf, "T:%5.1f, A:%6d %6d %6d, G:%6d %6d %6d, F:%6.1f %6.1f %6.1f, W:%d\n",
                  gtemp.new, mpu.ax, mpu.ay, mpu.az, mpu.gx, mpu.gy, mpu.gz, mpu.fAX, mpu.fAY, mpu.fAZ, gtemp.warn + mpu.warn * 2);
          SendEspStr(SensorPack.buf);
    }
    osDelay(1);
  }
  /* USER CODE END StartMainTask */
}

/* USER CODE BEGIN Application */

static void GUI_Start()
{
	  GUI_ClearRect(0, 0, LCD_GetXSize(), LCD_GetYSize());
    GUI_SetBkColor(GUI_BLACK);
    for ( int i = 0; i < 61; i++ ) {

      if ( Book.button )
      {
          GUI_Clear();
          GUI_SetBkColor(GUI_GRAY_D0);
          GUI_ClearRect(0, 0, LCD_GetXSize(), LCD_GetYSize());
          break;
      }

      if ( i % 5 == 0 && i!=60 )
        GUI_ClearRect(88,48,216,176);
      else if ( i % 5 == 1)
        GUI_DrawBitmap(&bmfirealarm30, 88, 48);
      else if ( i % 5 == 2)
        GUI_DrawBitmap(&bmfirealarm60, 88, 48);
      else if ( i % 5 == 3)
        GUI_DrawBitmap(&bmfirealarm82, 88, 48);
      else if ( i % 5 == 4)
        GUI_DrawBitmap(&bmfirealarm, 88, 48);

      if ( mpu.ok ) {

        if ( i % 10 == 3) {
          GUI_ClearRect(250,170,310,190);
          GUI_SetColor(GUI_LIGHTRED);
          GUI_SetFont(GUI_FONT_24B_1);
          GUI_DispStringAt("K5",250,170);
          osDelay(10);
        }
        if ( i % 10 == 6) {
          GUI_ClearRect(250,170,310,190);
          GUI_SetColor(GUI_LIGHTRED);
          GUI_SetFont(GUI_FONT_24B_1);
          GUI_DispStringAt("K5>",250,170);
          osDelay(10);
        }
        if ( i % 10 == 9) {
          GUI_ClearRect(250,170,310,190);
          GUI_SetColor(GUI_LIGHTRED);
          GUI_SetFont(GUI_FONT_24B_1);
          GUI_DispStringAt("K5>>",250,170);
          osDelay(10);
        }

      }

      GUI_SetColor(GUI_ORANGE);
      GUI_FillRect(40,200,4*i+40,220);
      GUI_DrawRect(40,200,280,220);

      if ( i == 60 )
      {
         GUI_SetColor(GUI_BROWN);
         GUI_SetFont(GUI_FONT_20_ASCII);
         GUI_DispStringAt("100%", 132, 204);
         osDelay(500);
      }
      osDelay(20);
    }

    if ( !Book.button )
    {

        GUI_Clear();
        GUI_SetBkColor(GUI_GRAY_D0);
        GUI_ClearRect(0, 0, LCD_GetXSize(), LCD_GetYSize());
        GUI_SetFont(&GUI_FontHZ_YouYuan_24);
        GUI_SetColor(GUI_RED);

        GUI_DrawBitmap(&bmhdu, 0, 0);
        GUI_DispStringAt("防火防盗监测器", 76, 96);
        if (!Book.button)
          osDelay(1000);
        GUI_Clear();
        GUI_DispStringAt("21032311", 106, 96);
        GUI_DispStringAt("陈炫润", 114, 126);
        if (!Book.button)
        {
          osDelay(2000);
          GUI_Clear();
          GUI_SetBkColor(GUI_GRAY_D0);
          GUI_SetColor(GUI_DARKCYAN);
          GUI_SetFont(&GUI_FontHZ_Zhongyuan_Hz_24);
          GUI_DispStringAt("电子设计综合实践", 60, 30);
          GUI_DrawBitmap(&bmcxr, 120, 70);
          osDelay(1000);
        }

    }
    Beep(7,100);
}

void Beep(uint8_t tune, uint16_t time)
{
    static uint16_t TAB[] = {494, 523, 588, 660, 698, 784, 880, 988};

    if (tune >=1  && tune <= 7) {
      int pre = 1000000 / TAB[tune];
      __HAL_TIM_SET_AUTORELOAD(&htim3,pre);
      __HAL_TIM_SET_COMPARE(&htim3, TIM_CHANNEL_1, pre/2);

      beeptick = osKernelGetTickCount() + time;
      HAL_TIM_PWM_Start(&htim3,TIM_CHANNEL_1);
    }
}

void Beep_mpu(uint8_t tune, uint16_t time)
{
    static uint16_t TAB[] = {262, 294, 330, 349, 392, 440, 494, 523};
    if (tune >=1  && tune <= 7) {
      int pre = 1000000 / TAB[tune];
      __HAL_TIM_SET_AUTORELOAD(&htim3,pre);
      __HAL_TIM_SET_COMPARE(&htim3, TIM_CHANNEL_1, pre/2);

      beeptick = osKernelGetTickCount() + time;
      HAL_TIM_PWM_Start(&htim3,TIM_CHANNEL_1);
    }
}

void BeepDone(void)
{
   if(beeptick > 0 && osKernelGetTickCount() >= beeptick) {
    beeptick = 0;
    HAL_TIM_PWM_Stop(&htim3, TIM_CHANNEL_1);
   }
}

void UpdateDisplayOnButtonPress(void)
{
    gtemp.update = 1;
    Book_Pageturn(Book.cur, gtemp, mpu);
}

void HAL_GPIO_EXTI_Callback(uint16_t GPIO_Pin)
{
    switch (GPIO_Pin)
    {
        case K5_Pin:
          if (HAL_GPIO_ReadPin(K5_GPIO_Port, K5_Pin) == SET && Book.Priority != WIFI_ESP && Book.Priority != PARA_SET )
          {
              Book.cur  = MENU[Book.cur].enter;
              Book.last = 0;
              Book.button = 1;
              UpdateDisplayOnButtonPress();
          }
        break;
        default:
        break;
    }
}
/* USER CODE END Application */
